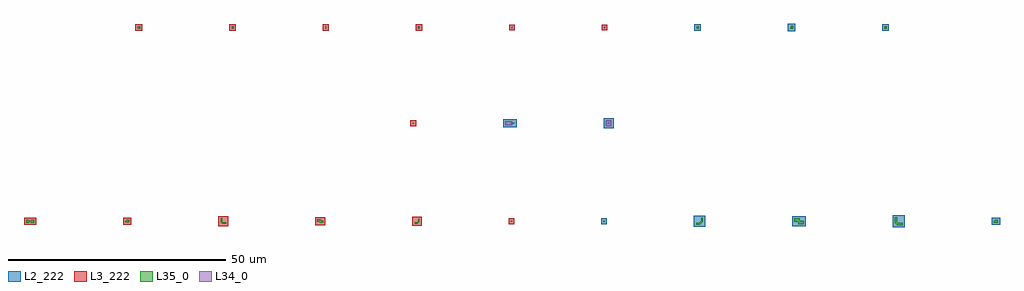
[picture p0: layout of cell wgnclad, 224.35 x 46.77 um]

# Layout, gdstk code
from math import pi, radians
import gdstk
lib = gdstk.Library(unit=1e-6, precision=1e-09)
def R(c, l, rs):  # rectangles x0, y0, x1, y1
    for r in rs: c.add(gdstk.rectangle(r[:2], r[2:], *l))
def P(c, l, *ps):  # polygons
    for p in ps: c.add(gdstk.Polygon(p, *l))
L2_222 = (2, 222)
L3_222 = (3, 222)
L34_0 = (34, 0)
L35_0 = (35, 0)

compass_3eb4a6c2 = lib.new_cell('compass_3eb4a6c2')
R(compass_3eb4a6c2, L35_0, [(-0.15,-0.15,0.15,0.15)])

rectangle_3eb4a6c2 = lib.new_cell('rectangle_3eb4a6c2')
rectangle_3eb4a6c2.add(gdstk.Reference(compass_3eb4a6c2, (0.15,0.15)))

width_basic_width0_3_lay = lib.new_cell('width_basic_width0.3_layer_(35, 0)')
width_basic_width0_3_lay.add(gdstk.Reference(rectangle_3eb4a6c2, (0,0)))

compass_be9f5536 = lib.new_cell('compass_be9f5536')
R(compass_be9f5536, L2_222, [(-0.65,-0.65,0.65,0.65)])

rectangle_be9f5536 = lib.new_cell('rectangle_be9f5536')
rectangle_be9f5536.add(gdstk.Reference(compass_be9f5536, (0.65,0.65)))

pass_fail_mk_9283468f = lib.new_cell('pass_fail_mk_9283468f')
pass_fail_mk_9283468f.add(gdstk.Reference(rectangle_be9f5536, (-0.5,-0.5)))
pass_fail_mk_9283468f.add(gdstk.Label('WGNC.W.1', (-0.25,-0.25), layer=11, texttype=222))

compass_1de04595 = lib.new_cell('compass_1de04595')
R(compass_1de04595, L35_0, [(-0.145,-0.145,0.145,0.145)])

rectangle_1de04595 = lib.new_cell('rectangle_1de04595')
rectangle_1de04595.add(gdstk.Reference(compass_1de04595, (0.145,0.145)))

width_basic_width0_29_la = lib.new_cell('width_basic_width0.29_layer_(35, 0)')
width_basic_width0_29_la.add(gdstk.Reference(rectangle_1de04595, (0,0)))

compass_255b7973 = lib.new_cell('compass_255b7973')
R(compass_255b7973, L3_222, [(-0.645,-0.645,0.645,0.645)])

rectangle_255b7973 = lib.new_cell('rectangle_255b7973')
rectangle_255b7973.add(gdstk.Reference(compass_255b7973, (0.645,0.645)))

pass_fail_mk_2b940dd2 = lib.new_cell('pass_fail_mk_2b940dd2')
pass_fail_mk_2b940dd2.add(gdstk.Reference(rectangle_255b7973, (-0.5,-0.5)))
pass_fail_mk_2b940dd2.add(gdstk.Label('WGNC.W.1', (-0.25,-0.25), layer=11, texttype=222))

extrude_b44e4594 = lib.new_cell('extrude_b44e4594')
P(extrude_b44e4594, L35_0, [(0,-0.2),(0.883,-0.2),(1.566,0.483),(1.566,1.366),(1.166,1.366),(1.166,0.649),(0.717,0.2),(0,0.2)])

width_45deg_width0_4_lay = lib.new_cell('width_45deg_width0.4_layer_(35, 0)')
width_45deg_width0_4_lay.add(gdstk.Reference(extrude_b44e4594, (0,0)))

compass_e8d45a11 = lib.new_cell('compass_e8d45a11')
R(compass_e8d45a11, L2_222, [(-1.283,-1.283,1.283,1.283)])

rectangle_e8d45a11 = lib.new_cell('rectangle_e8d45a11')
rectangle_e8d45a11.add(gdstk.Reference(compass_e8d45a11, (1.283,1.283)))

pass_fail_mk_63ff7611 = lib.new_cell('pass_fail_mk_63ff7611')
pass_fail_mk_63ff7611.add(gdstk.Reference(rectangle_e8d45a11, (-0.5,-0.7)))
pass_fail_mk_63ff7611.add(gdstk.Label('WGNC.W.1', (-0.25,-0.45), layer=11, texttype=222))

extrude_67f34050 = lib.new_cell('extrude_67f34050')
P(extrude_67f34050, L35_0, [(0,-0.145),(0.64,-0.145),(1.135,0.35),(1.135,0.99),(0.845,0.99),(0.845,0.47),(0.52,0.145),(0,0.145)])

width_45deg_width0_29_la = lib.new_cell('width_45deg_width0.29_layer_(35, 0)')
width_45deg_width0_29_la.add(gdstk.Reference(extrude_67f34050, (0,0)))

compass_589e3109 = lib.new_cell('compass_589e3109')
R(compass_589e3109, L3_222, [(-1.068,-1.068,1.068,1.068)])

rectangle_589e3109 = lib.new_cell('rectangle_589e3109')
rectangle_589e3109.add(gdstk.Reference(compass_589e3109, (1.067,1.067)))

pass_fail_mk_84af7259 = lib.new_cell('pass_fail_mk_84af7259')
pass_fail_mk_84af7259.add(gdstk.Reference(rectangle_589e3109, (-0.499,-0.644)))
pass_fail_mk_84af7259.add(gdstk.Label('WGNC.W.1', (-0.25,-0.395), layer=11, texttype=222))

boolean_8ca5d39f = lib.new_cell('boolean_8ca5d39f')
P(boolean_8ca5d39f, L35_0, [(1.2,0.8),(0.283,0.8),(0.283,1.317),(-0.917,1.317),(-0.917,0.517),(0,0.517),(0,0),(1.2,0)])

width_cor2cor_width0_4_l = lib.new_cell('width_cor2cor_width0.4_layer_(35, 0)')
width_cor2cor_width0_4_l.add(gdstk.Reference(boolean_8ca5d39f, (0,0)))

compass_4797e808 = lib.new_cell('compass_4797e808')
R(compass_4797e808, L2_222, [(-1.558,-1.158,1.558,1.158)])

rectangle_4797e808 = lib.new_cell('rectangle_4797e808')
rectangle_4797e808.add(gdstk.Reference(compass_4797e808, (1.558,1.159)))

pass_fail_mk_5f9531fe = lib.new_cell('pass_fail_mk_5f9531fe')
pass_fail_mk_5f9531fe.add(gdstk.Reference(rectangle_4797e808, (-1.417,-0.501)))
pass_fail_mk_5f9531fe.add(gdstk.Label('WGNC.W.1', (-1.166,-0.25), layer=11, texttype=222))

boolean_d1fc33bf = lib.new_cell('boolean_d1fc33bf')
P(boolean_d1fc33bf, L35_0, [(0.75,0.5),(0.177,0.5),(0.177,0.823),(-0.573,0.823),(-0.573,0.323),(0,0.323),(0,0),(0.75,0)])

width_cor2cor_width0_25_ = lib.new_cell('width_cor2cor_width0.25_layer_(35, 0)')
width_cor2cor_width0_25_.add(gdstk.Reference(boolean_d1fc33bf, (0,0)))

compass_1458ecf1 = lib.new_cell('compass_1458ecf1')
R(compass_1458ecf1, L3_222, [(-1.162,-0.912,1.162,0.912)])

rectangle_1458ecf1 = lib.new_cell('rectangle_1458ecf1')
rectangle_1458ecf1.add(gdstk.Reference(compass_1458ecf1, (1.161,0.911)))

pass_fail_mk_50d912b0 = lib.new_cell('pass_fail_mk_50d912b0')
pass_fail_mk_50d912b0.add(gdstk.Reference(rectangle_1458ecf1, (-1.073,-0.499)))
pass_fail_mk_50d912b0.add(gdstk.Label('WGNC.W.1', (-0.824,-0.25), layer=11, texttype=222))

boolean_b7aa2861 = lib.new_cell('boolean_b7aa2861')
R(boolean_b7aa2861, L35_0, [(0,-0.567,1.2,0), (-0.568,0,0,1.2)])
P(boolean_b7aa2861, L35_0, [(0,0),(-0.568,0),(-0.568,-0.004),(-0.567,-0.003),(-0.001,-0.568),(0,-0.568)])

width_cor_45deg_width0_4 = lib.new_cell('width_cor_45deg_width0.4_layer_(35, 0)')
width_cor_45deg_width0_4.add(gdstk.Reference(boolean_b7aa2861, (0,0)))

compass_7145c64b = lib.new_cell('compass_7145c64b')
R(compass_7145c64b, L2_222, [(-1.384,-1.384,1.384,1.384)])

rectangle_7145c64b = lib.new_cell('rectangle_7145c64b')
rectangle_7145c64b.add(gdstk.Reference(compass_7145c64b, (1.384,1.384)))

pass_fail_mk_936ae5c9 = lib.new_cell('pass_fail_mk_936ae5c9')
pass_fail_mk_936ae5c9.add(gdstk.Reference(rectangle_7145c64b, (-1.068,-1.068)))
pass_fail_mk_936ae5c9.add(gdstk.Label('WGNC.W.1', (-0.818,-0.818), layer=11, texttype=222))

boolean_04b450e3 = lib.new_cell('boolean_04b450e3')
R(boolean_04b450e3, L35_0, [(0,-0.412,0.87,0), (-0.412,0,0,0.87)])
P(boolean_04b450e3, L35_0, [(0,0),(-0.412,0),(-0.412,-0.003),(-0.411,-0.002),(-0.001,-0.412),(-0.001,-0.412),(0,-0.412)])

width_cor_45deg_width0_2 = lib.new_cell('width_cor_45deg_width0.29_layer_(35, 0)')
width_cor_45deg_width0_2.add(gdstk.Reference(boolean_04b450e3, (0,0)))

compass_3de67bf9 = lib.new_cell('compass_3de67bf9')
R(compass_3de67bf9, L3_222, [(-1.141,-1.141,1.141,1.141)])

rectangle_3de67bf9 = lib.new_cell('rectangle_3de67bf9')
rectangle_3de67bf9.add(gdstk.Reference(compass_3de67bf9, (1.141,1.141)))

pass_fail_mk_8f967c9e = lib.new_cell('pass_fail_mk_8f967c9e')
pass_fail_mk_8f967c9e.add(gdstk.Reference(rectangle_3de67bf9, (-0.912,-0.912)))
pass_fail_mk_8f967c9e.add(gdstk.Label('WGNC.W.1', (-0.662,-0.662), layer=11, texttype=222))

boolean_30fd8b37 = lib.new_cell('boolean_30fd8b37')
P(boolean_30fd8b37, L35_0, [(0.9,0.6),(0.3,0.6),(0,0.3),(0,0),(0.9,0)])

width_cor_45deg_width0_3 = lib.new_cell('width_cor_45deg_width0.3_layer_(35, 0)')
width_cor_45deg_width0_3.add(gdstk.Reference(boolean_30fd8b37, (0,0)))

compass_9f054f90 = lib.new_cell('compass_9f054f90')
R(compass_9f054f90, L2_222, [(-0.95,-0.8,0.95,0.8)])

rectangle_9f054f90 = lib.new_cell('rectangle_9f054f90')
rectangle_9f054f90.add(gdstk.Reference(compass_9f054f90, (0.95,0.8)))

pass_fail_mk_22f9c9dd = lib.new_cell('pass_fail_mk_22f9c9dd')
pass_fail_mk_22f9c9dd.add(gdstk.Reference(rectangle_9f054f90, (-0.5,-0.5)))
pass_fail_mk_22f9c9dd.add(gdstk.Label('WGNC.W.1', (-0.25,-0.25), layer=11, texttype=222))

boolean_7dfdd160 = lib.new_cell('boolean_7dfdd160')
P(boolean_7dfdd160, L35_0, [(0.87,0.58),(0.29,0.58),(0,0.29),(0,0),(0.87,0)])

c_width_cor_45deg_width0_2 = lib.new_cell('width_cor_45deg_width0.29_layer_(35, 0)$1')
c_width_cor_45deg_width0_2.add(gdstk.Reference(boolean_7dfdd160, (0,0)))

compass_0d8fa47e = lib.new_cell('compass_0d8fa47e')
R(compass_0d8fa47e, L3_222, [(-0.935,-0.79,0.935,0.79)])

rectangle_0d8fa47e = lib.new_cell('rectangle_0d8fa47e')
rectangle_0d8fa47e.add(gdstk.Reference(compass_0d8fa47e, (0.935,0.79)))

pass_fail_mk_f633a498 = lib.new_cell('pass_fail_mk_f633a498')
pass_fail_mk_f633a498.add(gdstk.Reference(rectangle_0d8fa47e, (-0.5,-0.5)))
pass_fail_mk_f633a498.add(gdstk.Label('WGNC.W.1', (-0.25,-0.25), layer=11, texttype=222))

boolean_03bebe22 = lib.new_cell('boolean_03bebe22')
P(boolean_03bebe22, L35_0, [(0.6,0.6),(0,0.6),(0,0.6),(-0.3,0.3),(0,0),(0,0),(0.6,0)])

width_singular_width0_3_ = lib.new_cell('width_singular_width0.3_layer_(35, 0)')
width_singular_width0_3_.add(gdstk.Reference(boolean_03bebe22, (0,0)))
width_singular_width0_3_.add(gdstk.Reference(boolean_03bebe22, (-0.6,0.6), rotation=pi))

compass_d99c9862 = lib.new_cell('compass_d99c9862')
R(compass_d99c9862, L3_222, [(-1.4,-0.8,1.4,0.8)])

rectangle_d99c9862 = lib.new_cell('rectangle_d99c9862')
rectangle_d99c9862.add(gdstk.Reference(compass_d99c9862, (1.4,0.8)))

pass_fail_mk_a674e58c = lib.new_cell('pass_fail_mk_a674e58c')
pass_fail_mk_a674e58c.add(gdstk.Reference(rectangle_d99c9862, (-1.7,-0.5)))
pass_fail_mk_a674e58c.add(gdstk.Label('WGNC.W.1', (-1.45,-0.25), layer=11, texttype=222))

width_patterns_width0_3_ = lib.new_cell('width_patterns_width0.3_layer(35, 0)')
width_patterns_width0_3_.add(gdstk.Reference(width_basic_width0_3_lay, (0,0)))
width_patterns_width0_3_.add(gdstk.Reference(pass_fail_mk_9283468f, (0,0)))
width_patterns_width0_3_.add(gdstk.Reference(width_basic_width0_29_la, (-21.29,0.005)))
width_patterns_width0_3_.add(gdstk.Reference(pass_fail_mk_2b940dd2, (-21.29,0.005)))
width_patterns_width0_3_.add(gdstk.Reference(width_45deg_width0_4_lay, (21.3,-0.433)))
width_patterns_width0_3_.add(gdstk.Reference(pass_fail_mk_63ff7611, (21.3,-0.433)))
width_patterns_width0_3_.add(gdstk.Reference(width_45deg_width0_29_la, (-43.426,-0.273)))
width_patterns_width0_3_.add(gdstk.Reference(pass_fail_mk_84af7259, (-43.426,-0.273)))
width_patterns_width0_3_.add(gdstk.Reference(width_cor2cor_width0_4_l, (44.782,-0.508)))
width_patterns_width0_3_.add(gdstk.Reference(pass_fail_mk_5f9531fe, (44.783,-0.508)))
width_patterns_width0_3_.add(gdstk.Reference(width_cor2cor_width0_25_, (-65.176,-0.261)))
width_patterns_width0_3_.add(gdstk.Reference(pass_fail_mk_50d912b0, (-65.177,-0.262)))
width_patterns_width0_3_.add(gdstk.Reference(width_cor_45deg_width0_4, (67.55,-0.166)))
width_patterns_width0_3_.add(gdstk.Reference(pass_fail_mk_936ae5c9, (67.55,-0.166)))
width_patterns_width0_3_.add(gdstk.Reference(width_cor_45deg_width0_2, (-87.62,-0.079)))
width_patterns_width0_3_.add(gdstk.Reference(pass_fail_mk_8f967c9e, (-87.62,-0.079)))
width_patterns_width0_3_.add(gdstk.Reference(width_cor_45deg_width0_3, (89.75,-0.15)))
width_patterns_width0_3_.add(gdstk.Reference(pass_fail_mk_22f9c9dd, (89.75,-0.15)))
width_patterns_width0_3_.add(gdstk.Reference(c_width_cor_45deg_width0_2, (-109.902,-0.14)))
width_patterns_width0_3_.add(gdstk.Reference(pass_fail_mk_f633a498, (-109.902,-0.14)))
width_patterns_width0_3_.add(gdstk.Reference(width_singular_width0_3_, (-131.502,-0.15)))
width_patterns_width0_3_.add(gdstk.Reference(pass_fail_mk_a674e58c, (-131.502,-0.15)))

compass_4fdec5c8 = lib.new_cell('compass_4fdec5c8')
R(compass_4fdec5c8, L35_0, [(-0.4,-0.15,0.4,0.15)])

rectangle_4fdec5c8 = lib.new_cell('rectangle_4fdec5c8')
rectangle_4fdec5c8.add(gdstk.Reference(compass_4fdec5c8, (0.4,0.15)))

compass_layerwgn_size1p6 = lib.new_cell('compass_layerWGN_size1p6__0p9')
R(compass_layerwgn_size1p6, L34_0, [(-0.8,-0.45,0.8,0.45)])

rectangle_layerwgn_size1 = lib.new_cell('rectangle_layerWGN_size1p6__0p9')
rectangle_layerwgn_size1.add(gdstk.Reference(compass_layerwgn_size1p6, (0.8,0.45)))

overlap_past_basic_over0 = lib.new_cell('overlap_past_basic_over0.5_width0.3_layer_(35, 0)_over_layerWGN')
overlap_past_basic_over0.add(gdstk.Reference(rectangle_4fdec5c8, (0.9,0)))
overlap_past_basic_over0.add(gdstk.Reference(rectangle_layerwgn_size1, (-0.4,-0.3)))

compass_c33485da = lib.new_cell('compass_c33485da')
R(compass_c33485da, L2_222, [(-1.55,-0.95,1.55,0.95)])

rectangle_c33485da = lib.new_cell('rectangle_c33485da')
rectangle_c33485da.add(gdstk.Reference(compass_c33485da, (1.55,0.95)))

pass_fail_mk_95b8c428 = lib.new_cell('pass_fail_mk_95b8c428')
pass_fail_mk_95b8c428.add(gdstk.Reference(rectangle_c33485da, (-0.9,-0.8)))
pass_fail_mk_95b8c428.add(gdstk.Label('WGNC.I.1', (-0.65,-0.55), layer=11, texttype=222))

non_overlap_basic_width0 = lib.new_cell('non_overlap_basic_width0.3_layer_(35, 0)')
non_overlap_basic_width0.add(gdstk.Reference(rectangle_3eb4a6c2, (0,0)))

compass_f4e40a53 = lib.new_cell('compass_f4e40a53')
R(compass_f4e40a53, L3_222, [(-0.65,-0.65,0.65,0.65)])

rectangle_f4e40a53 = lib.new_cell('rectangle_f4e40a53')
rectangle_f4e40a53.add(gdstk.Reference(compass_f4e40a53, (0.65,0.65)))

pass_fail_mk_f346b4f6 = lib.new_cell('pass_fail_mk_f346b4f6')
pass_fail_mk_f346b4f6.add(gdstk.Reference(rectangle_f4e40a53, (-0.5,-0.5)))
pass_fail_mk_f346b4f6.add(gdstk.Label('WGNC.I.1', (-0.25,-0.25), layer=11, texttype=222))

compass_layerwgn_size1p3 = lib.new_cell('compass_layerWGN_size1p3__1p3')
R(compass_layerwgn_size1p3, L34_0, [(-0.65,-0.65,0.65,0.65)])

c_rectangle_layerwgn_size1 = lib.new_cell('rectangle_layerWGN_size1p3__1p3')
c_rectangle_layerwgn_size1.add(gdstk.Reference(compass_layerwgn_size1p3, (0.65,0.65)))

overlap_enclosed_over0_5 = lib.new_cell('overlap_enclosed_over0.5_width0.3_layer_(35, 0)_over_layerWGN')
overlap_enclosed_over0_5.add(gdstk.Reference(rectangle_3eb4a6c2, (0,0)))
overlap_enclosed_over0_5.add(gdstk.Reference(c_rectangle_layerwgn_size1, (-0.5,-0.5)))

compass_6398bd07 = lib.new_cell('compass_6398bd07')
R(compass_6398bd07, L2_222, [(-1.15,-1.15,1.15,1.15)])

rectangle_6398bd07 = lib.new_cell('rectangle_6398bd07')
rectangle_6398bd07.add(gdstk.Reference(compass_6398bd07, (1.15,1.15)))

pass_fail_mk_5c01e100 = lib.new_cell('pass_fail_mk_5c01e100')
pass_fail_mk_5c01e100.add(gdstk.Reference(rectangle_6398bd07, (-1,-1)))
pass_fail_mk_5c01e100.add(gdstk.Label('WGNC.I.1', (-0.75,-0.75), layer=11, texttype=222))

overlapping_patterns_ove = lib.new_cell('overlapping_patterns_overlap0.5_layer(35, 0)')
overlapping_patterns_ove.add(gdstk.Reference(overlap_past_basic_over0, (0,0)))
overlapping_patterns_ove.add(gdstk.Reference(pass_fail_mk_95b8c428, (0,0)))
overlapping_patterns_ove.add(gdstk.Reference(non_overlap_basic_width0, (-21.7,0)))
overlapping_patterns_ove.add(gdstk.Reference(pass_fail_mk_f346b4f6, (-21.7,0)))
overlapping_patterns_ove.add(gdstk.Reference(overlap_enclosed_over0_5, (23.2,0)))
overlapping_patterns_ove.add(gdstk.Reference(pass_fail_mk_5c01e100, (23.2,0)))

compass_layerwgn_size0p3 = lib.new_cell('compass_layerWGN_size0p3__0p3')
R(compass_layerwgn_size0p3, L34_0, [(-0.15,-0.15,0.15,0.15)])

rectangle_layerwgn_size0 = lib.new_cell('rectangle_layerWGN_size0p3__0p3')
rectangle_layerwgn_size0.add(gdstk.Reference(compass_layerwgn_size0p3, (0.15,0.15)))

compass_e93d3065 = lib.new_cell('compass_e93d3065')
R(compass_e93d3065, L35_0, [(-0.25,-0.25,0.25,0.25)])

rectangle_e93d3065 = lib.new_cell('rectangle_e93d3065')
rectangle_e93d3065.add(gdstk.Reference(compass_e93d3065, (0.25,0.25)))

enclose_basic_enc0_1_wid = lib.new_cell('enclose_basic_enc0.1_width0.3_layer_WGN_enc_layer(35, 0)')
enclose_basic_enc0_1_wid.add(gdstk.Reference(rectangle_layerwgn_size0, (0,0)))
enclose_basic_enc0_1_wid.add(gdstk.Reference(rectangle_e93d3065, (-0.1,-0.1)))

compass_b56db43c = lib.new_cell('compass_b56db43c')
R(compass_b56db43c, L2_222, [(-0.75,-0.75,0.75,0.75)])

rectangle_b56db43c = lib.new_cell('rectangle_b56db43c')
rectangle_b56db43c.add(gdstk.Reference(compass_b56db43c, (0.75,0.75)))

pass_fail_mk_83a3108a = lib.new_cell('pass_fail_mk_83a3108a')
pass_fail_mk_83a3108a.add(gdstk.Reference(rectangle_b56db43c, (-0.6,-0.6)))
pass_fail_mk_83a3108a.add(gdstk.Label('WGNC.EN.1', (-0.35,-0.35), layer=11, texttype=222))

enclose_basic_enc0_0_wid = lib.new_cell('enclose_basic_enc0.0_width0.3_layer_WGN_enc_layer(35, 0)')
enclose_basic_enc0_0_wid.add(gdstk.Reference(rectangle_layerwgn_size0, (0,0)))
enclose_basic_enc0_0_wid.add(gdstk.Reference(rectangle_3eb4a6c2, (0,0)))

pass_fail_mk_26c289a8 = lib.new_cell('pass_fail_mk_26c289a8')
pass_fail_mk_26c289a8.add(gdstk.Reference(rectangle_f4e40a53, (-0.5,-0.5)))
pass_fail_mk_26c289a8.add(gdstk.Label('WGNC.EN.1', (-0.25,-0.25), layer=11, texttype=222))

boolean_d607269f = lib.new_cell('boolean_d607269f')
P(boolean_d607269f, L34_0, [(0.3,0.3),(0.106,0.3),(0,0.194),(0,0),(0.3,0)])

boolean_a6d8e211 = lib.new_cell('boolean_a6d8e211')
P(boolean_a6d8e211, L35_0, [(0.5,0.5),(0.079,0.5),(-0.2,0.221),(-0.2,-0.2),(0.5,-0.2)])

enclose_45deg_enc0_2_wid = lib.new_cell('enclose_45deg_enc0.2_width0.3_layer_WGN_enc_layer(35, 0)')
enclose_45deg_enc0_2_wid.add(gdstk.Reference(boolean_d607269f, (0,0)))
enclose_45deg_enc0_2_wid.add(gdstk.Reference(boolean_a6d8e211, (0,0)))

compass_b2efa8bb = lib.new_cell('compass_b2efa8bb')
R(compass_b2efa8bb, L2_222, [(-0.85,-0.85,0.85,0.85)])

rectangle_b2efa8bb = lib.new_cell('rectangle_b2efa8bb')
rectangle_b2efa8bb.add(gdstk.Reference(compass_b2efa8bb, (0.85,0.85)))

pass_fail_mk_9a5ddad2 = lib.new_cell('pass_fail_mk_9a5ddad2')
pass_fail_mk_9a5ddad2.add(gdstk.Reference(rectangle_b2efa8bb, (-0.7,-0.7)))
pass_fail_mk_9a5ddad2.add(gdstk.Label('WGNC.EN.1', (-0.45,-0.45), layer=11, texttype=222))

boolean_b185ed79 = lib.new_cell('boolean_b185ed79')
P(boolean_b185ed79, L35_0, [(0.3,0.3),(0.15,0.3),(0,0.15),(0,0),(0.3,0)])

enclose_45deg_enc0_0_wid = lib.new_cell('enclose_45deg_enc0.0_width0.3_layer_WGN_enc_layer(35, 0)')
enclose_45deg_enc0_0_wid.add(gdstk.Reference(boolean_d607269f, (0,0)))
enclose_45deg_enc0_0_wid.add(gdstk.Reference(boolean_b185ed79, (0,0)))

pass_fail_mk_18898edb = lib.new_cell('pass_fail_mk_18898edb')
pass_fail_mk_18898edb.add(gdstk.Reference(rectangle_f4e40a53, (-0.5,-0.5)))
pass_fail_mk_18898edb.add(gdstk.Label('WGNC.EN.1', (-0.25,-0.25), layer=11, texttype=222))

boolean_6c05d284 = lib.new_cell('boolean_6c05d284')
P(boolean_6c05d284, L35_0, [(0.4,0.4),(-0.042,0.4),(-0.1,0.342),(-0.1,-0.1),(0.4,-0.1)])

enclose_cor2edge_enc0_1_ = lib.new_cell('enclose_cor2edge_enc0.1_width0.3_layer_WGN_enc_layer(35, 0)')
enclose_cor2edge_enc0_1_.add(gdstk.Reference(rectangle_layerwgn_size0, (0,0)))
enclose_cor2edge_enc0_1_.add(gdstk.Reference(boolean_6c05d284, (0,0)))

pass_fail_mk_40ca9d9c = lib.new_cell('pass_fail_mk_40ca9d9c')
pass_fail_mk_40ca9d9c.add(gdstk.Reference(rectangle_b56db43c, (-0.6,-0.6)))
pass_fail_mk_40ca9d9c.add(gdstk.Label('WGNC.EN.1', (-0.35,-0.35), layer=11, texttype=222))

boolean_69d07ed9 = lib.new_cell('boolean_69d07ed9')
P(boolean_69d07ed9, L35_0, [(0.39,0.39),(-0.038,0.39),(-0.09,0.338),(-0.09,-0.09),(0.39,-0.09)])

enclose_cor2edge_enc0_09 = lib.new_cell('enclose_cor2edge_enc0.09000000000000001_width0.3_layer_WGN_enc_layer(35, 0)')
enclose_cor2edge_enc0_09.add(gdstk.Reference(rectangle_layerwgn_size0, (0,0)))
enclose_cor2edge_enc0_09.add(gdstk.Reference(boolean_69d07ed9, (0,0)))

compass_b3d391c4 = lib.new_cell('compass_b3d391c4')
R(compass_b3d391c4, L3_222, [(-0.74,-0.74,0.74,0.74)])

rectangle_b3d391c4 = lib.new_cell('rectangle_b3d391c4')
rectangle_b3d391c4.add(gdstk.Reference(compass_b3d391c4, (0.74,0.74)))

pass_fail_mk_f851ba3c = lib.new_cell('pass_fail_mk_f851ba3c')
pass_fail_mk_f851ba3c.add(gdstk.Reference(rectangle_b3d391c4, (-0.59,-0.59)))
pass_fail_mk_f851ba3c.add(gdstk.Label('WGNC.EN.1', (-0.34,-0.34), layer=11, texttype=222))

compass_e6c52859 = lib.new_cell('compass_e6c52859')
R(compass_e6c52859, L35_0, [(-0.15,-0.25,0.15,0.25)])

rectangle_e6c52859 = lib.new_cell('rectangle_e6c52859')
rectangle_e6c52859.add(gdstk.Reference(compass_e6c52859, (0.15,0.25)))

enclose_touch_enc0_1_wid = lib.new_cell('enclose_touch_enc0.1_width0.3_layer_WGN_enc_layer(35, 0)')
enclose_touch_enc0_1_wid.add(gdstk.Reference(rectangle_layerwgn_size0, (0,0)))
enclose_touch_enc0_1_wid.add(gdstk.Reference(rectangle_e6c52859, (0,-0.1)))

compass_4746a9e9 = lib.new_cell('compass_4746a9e9')
R(compass_4746a9e9, L3_222, [(-0.65,-0.75,0.65,0.75)])

rectangle_4746a9e9 = lib.new_cell('rectangle_4746a9e9')
rectangle_4746a9e9.add(gdstk.Reference(compass_4746a9e9, (0.65,0.75)))

pass_fail_mk_2ce4dffc = lib.new_cell('pass_fail_mk_2ce4dffc')
pass_fail_mk_2ce4dffc.add(gdstk.Reference(rectangle_4746a9e9, (-0.5,-0.6)))
pass_fail_mk_2ce4dffc.add(gdstk.Label('WGNC.EN.1', (-0.25,-0.35), layer=11, texttype=222))

boolean_527949ca = lib.new_cell('boolean_527949ca')
P(boolean_527949ca, L35_0, [(0.4,0.4),(-0.1,0.4),(-0.1,0.038),(0.038,0.038),(0.038,0.262),(0.262,0.262),(0.262,0.038),(0.038,0.038),(-0.1,0.038),(-0.1,-0.1),(0.4,-0.1)])

enclose_hole_enc0_1_widt = lib.new_cell('enclose_hole_enc0.1_width0.3_layer_WGN_enc_layer(35, 0)')
enclose_hole_enc0_1_widt.add(gdstk.Reference(rectangle_layerwgn_size0, (0,0)))
enclose_hole_enc0_1_widt.add(gdstk.Reference(boolean_527949ca, (0,0)))

compass_1daf0591 = lib.new_cell('compass_1daf0591')
R(compass_1daf0591, L3_222, [(-0.75,-0.75,0.75,0.75)])

rectangle_1daf0591 = lib.new_cell('rectangle_1daf0591')
rectangle_1daf0591.add(gdstk.Reference(compass_1daf0591, (0.75,0.75)))

pass_fail_mk_bf2dec7d = lib.new_cell('pass_fail_mk_bf2dec7d')
pass_fail_mk_bf2dec7d.add(gdstk.Reference(rectangle_1daf0591, (-0.6,-0.6)))
pass_fail_mk_bf2dec7d.add(gdstk.Label('WGNC.EN.1', (-0.35,-0.35), layer=11, texttype=222))

enclose_intersect_enc0_1 = lib.new_cell('enclose_intersect_enc0.1_width0.3_layer_WGN_enc_layer(35, 0)')
enclose_intersect_enc0_1.add(gdstk.Reference(rectangle_layerwgn_size0, (-0.25,0)))
enclose_intersect_enc0_1.add(gdstk.Reference(rectangle_e93d3065, (-0.1,-0.1)))

compass_ab8b9230 = lib.new_cell('compass_ab8b9230')
R(compass_ab8b9230, L3_222, [(-0.825,-0.75,0.825,0.75)])

rectangle_ab8b9230 = lib.new_cell('rectangle_ab8b9230')
rectangle_ab8b9230.add(gdstk.Reference(compass_ab8b9230, (0.825,0.75)))

pass_fail_mk_9e3fa87c = lib.new_cell('pass_fail_mk_9e3fa87c')
pass_fail_mk_9e3fa87c.add(gdstk.Reference(rectangle_ab8b9230, (-0.75,-0.6)))
pass_fail_mk_9e3fa87c.add(gdstk.Label('WGNC.EN.1', (-0.5,-0.35), layer=11, texttype=222))

enclose_patterns_enclosu = lib.new_cell('enclose_patterns_enclosure0.1_width0.3_layerWGN_enc_layer(35, 0)')
enclose_patterns_enclosu.add(gdstk.Reference(enclose_basic_enc0_1_wid, (0,0)))
enclose_patterns_enclosu.add(gdstk.Reference(pass_fail_mk_83a3108a, (0,0)))
enclose_patterns_enclosu.add(gdstk.Reference(enclose_basic_enc0_0_wid, (-21.4,0)))
enclose_patterns_enclosu.add(gdstk.Reference(pass_fail_mk_26c289a8, (-21.4,0)))
enclose_patterns_enclosu.add(gdstk.Reference(enclose_45deg_enc0_2_wid, (21.6,0)))
enclose_patterns_enclosu.add(gdstk.Reference(pass_fail_mk_9a5ddad2, (21.6,0)))
enclose_patterns_enclosu.add(gdstk.Reference(enclose_45deg_enc0_0_wid, (-42.7,0)))
enclose_patterns_enclosu.add(gdstk.Reference(pass_fail_mk_18898edb, (-42.7,0)))
enclose_patterns_enclosu.add(gdstk.Reference(enclose_cor2edge_enc0_1_, (43.2,0)))
enclose_patterns_enclosu.add(gdstk.Reference(pass_fail_mk_40ca9d9c, (43.2,0)))
enclose_patterns_enclosu.add(gdstk.Reference(enclose_cor2edge_enc0_09, (-64.09,0)))
enclose_patterns_enclosu.add(gdstk.Reference(pass_fail_mk_f851ba3c, (-64.09,0)))
enclose_patterns_enclosu.add(gdstk.Reference(enclose_touch_enc0_1_wid, (-85.48,0)))
enclose_patterns_enclosu.add(gdstk.Reference(pass_fail_mk_2ce4dffc, (-85.48,0)))
enclose_patterns_enclosu.add(gdstk.Reference(enclose_hole_enc0_1_widt, (-106.88,0)))
enclose_patterns_enclosu.add(gdstk.Reference(pass_fail_mk_bf2dec7d, (-106.88,0)))
enclose_patterns_enclosu.add(gdstk.Reference(enclose_intersect_enc0_1, (-128.38,0)))
enclose_patterns_enclosu.add(gdstk.Reference(pass_fail_mk_9e3fa87c, (-128.38,0)))

wgnclad = lib.new_cell('wgnclad')
wgnclad.add(gdstk.Reference(width_patterns_width0_3_, (0,0)))
wgnclad.add(gdstk.Reference(overlapping_patterns_ove, (-22.176,22.534)))
wgnclad.add(gdstk.Reference(enclose_patterns_enclosu, (21.489,44.534)))

lib.write_gds('wgnclad.gds')
